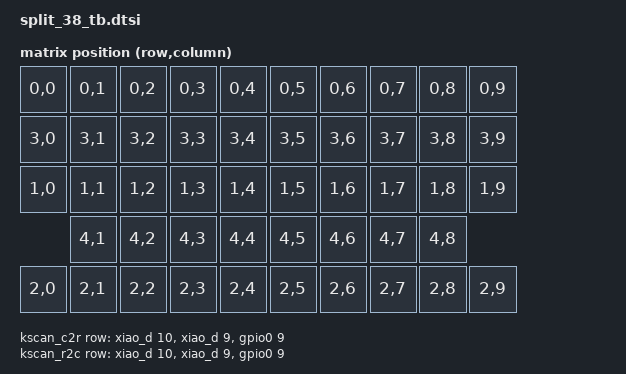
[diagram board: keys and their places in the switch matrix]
#include <dt-bindings/zmk/matrix_transform.h>
#include <dt-bindings/zmk/trackball_pim447.h>

/{
  chosen {
    zmk,kscan = &kscan0;
    zmk,matrix_transform = &default_transform;
  };

  default_transform: keymap_transform_0 {
    compatible = "zmk,matrix-transform";
    columns = <10>;
    rows = <6>;
    map = <
      RC(0,0) RC(0,1) RC(0,2) RC(0,3) RC(0,4)  RC(0,5) RC(0,6) RC(0,7) RC(0,8) RC(0,9)
      RC(3,0) RC(3,1) RC(3,2) RC(3,3) RC(3,4)  RC(3,5) RC(3,6) RC(3,7) RC(3,8) RC(3,9)
      RC(1,0) RC(1,1) RC(1,2) RC(1,3) RC(1,4)  RC(1,5) RC(1,6) RC(1,7) RC(1,8) RC(1,9)
              RC(4,1) RC(4,2) RC(4,3) RC(4,4)  RC(4,5) RC(4,6) RC(4,7) RC(4,8)
      RC(2,0) RC(2,1) RC(2,2) RC(2,3) RC(2,4)  RC(2,5) RC(2,6) RC(2,7) RC(2,8) RC(2,9)
    >;
  };

  kscan0: kscan_composite {
    compatible = "zmk,kscan-composite";
    rows = <6>;
    columns = <10>;

    c2r {
      kscan = <&kscan_c2r>;
    };

    r2c {
      kscan = <&kscan_r2c>;
      row-offset = <3>;
    };
  };

  kscan_c2r {
    compatible = "zmk,kscan-gpio-matrix";
    label = "C2R";

    diode-direction = "col2row";
    row-gpios
            = <&xiao_d 10>
            , <&xiao_d 9>
            , <&gpio0 9>
            ;
  };

  kscan_r2c {
    compatible = "zmk,kscan-gpio-matrix";
    label = "R2C";

    diode-direction = "row2col";
    row-gpios
            = <&xiao_d 10>
            , <&xiao_d 9>
            , <&gpio0 9>
            ;
  };
}

&xiao_i2c {
  status = "okey";

  trackball_pim447@a {
    compatible = "pimoroni,trackball_pim447";
    reg = <0xa>;
    label = "TRACKBALL_PIM447";
  };
};
